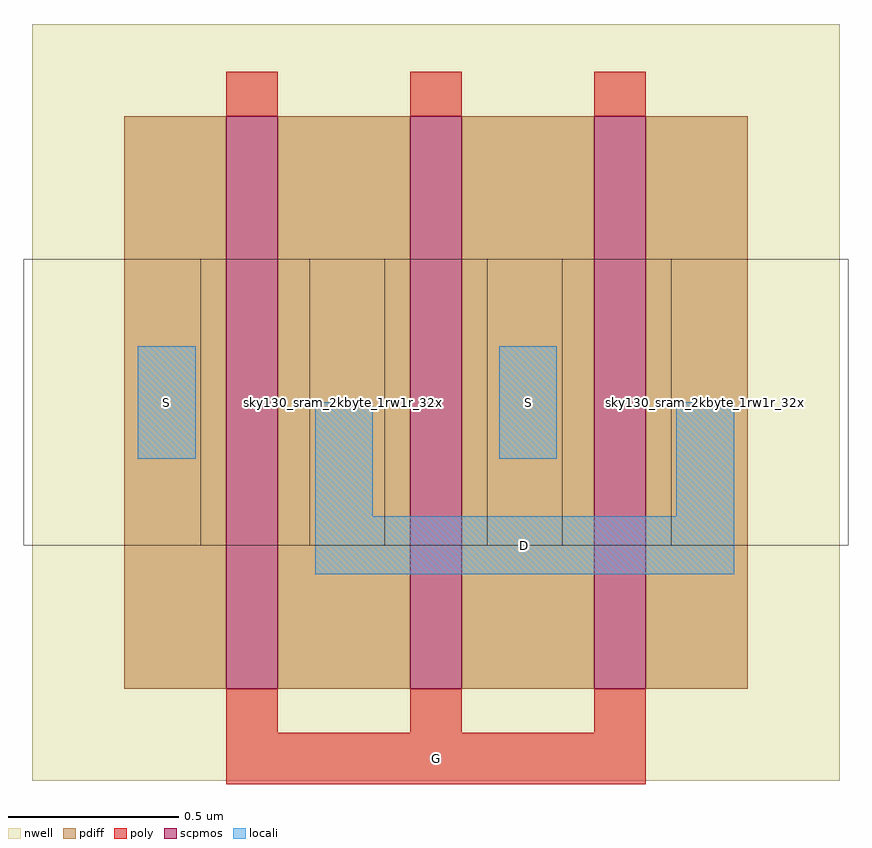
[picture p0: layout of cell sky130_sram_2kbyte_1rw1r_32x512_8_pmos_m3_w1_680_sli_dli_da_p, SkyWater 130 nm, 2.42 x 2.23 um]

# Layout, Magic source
magic
tech sky130A
magscale 1 2
<< nwell >>
rect -54 -54 420 390
<< scpmos >>
rect 60 0 90 336
rect 168 0 198 336
rect 276 0 306 336
<< pdiff >>
rect 0 0 60 336
rect 90 0 168 336
rect 198 0 276 336
rect 306 0 366 336
<< poly >>
rect 60 336 90 362
rect 168 336 198 362
rect 276 336 306 362
rect 60 -26 90 0
rect 168 -26 198 0
rect 276 -26 306 0
rect 60 -56 306 -26
<< locali >>
rect 8 135 42 201
rect 112 101 146 168
rect 220 135 254 201
rect 324 101 358 168
rect 112 67 358 101
use sky130_sram_2kbyte_1rw1r_32x512_8_contact_12  sky130_sram_2kbyte_1rw1r_32x512_8_contact_12_0
transform 1 0 316 0 1 135
box -59 -51 109 117
use sky130_sram_2kbyte_1rw1r_32x512_8_contact_12  sky130_sram_2kbyte_1rw1r_32x512_8_contact_12_1
transform 1 0 212 0 1 135
box -59 -51 109 117
use sky130_sram_2kbyte_1rw1r_32x512_8_contact_12  sky130_sram_2kbyte_1rw1r_32x512_8_contact_12_2
transform 1 0 104 0 1 135
box -59 -51 109 117
use sky130_sram_2kbyte_1rw1r_32x512_8_contact_12  sky130_sram_2kbyte_1rw1r_32x512_8_contact_12_3
transform 1 0 0 0 1 135
box -59 -51 109 117
<< labels >>
rlabel locali s 237 168 237 168 4 S
rlabel locali s 25 168 25 168 4 S
rlabel locali s 235 84 235 84 4 D
rlabel poly s 183 -41 183 -41 4 G
<< properties >>
string FIXED_BBOX -54 -56 420 390
<< end >>
